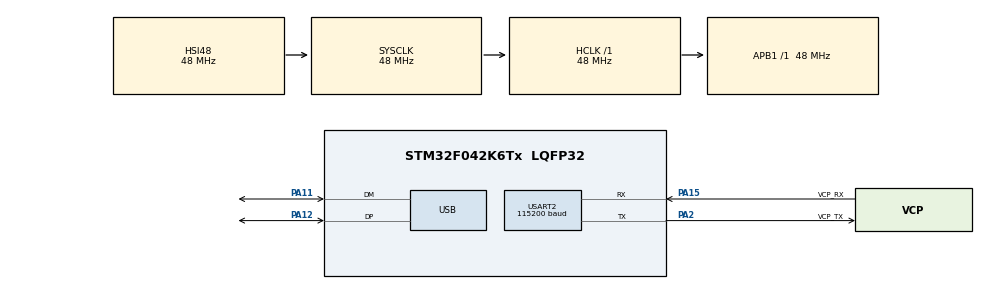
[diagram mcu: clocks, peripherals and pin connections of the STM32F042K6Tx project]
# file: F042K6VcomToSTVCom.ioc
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Mcu.Family=STM32F0
Mcu.Name=STM32F042K6Tx
Mcu.Package=LQFP32
NVIC.USART2_IRQn=true\:0\:0\:false\:false\:true
NVIC.USB_IRQn=true\:0\:0\:false\:false\:true
PA11.Mode=Device
PA11.Signal=USB_DM
PA12.Mode=Device
PA12.Signal=USB_DP
PA13.GPIO_Label=SWDIO
PA13.Signal=SYS_SWDIO
PA14.GPIO_Label=SWCLK
PA14.Signal=SYS_SWCLK
PA15.GPIO_Label=VCP_RX
PA15.Mode=Asynchronous
PA15.Signal=USART2_RX
PA2.GPIO_Label=VCP_TX
PA2.Mode=Asynchronous
PA2.Signal=USART2_TX
PF0-OSC_IN.GPIO_Label=MCO
PF0-OSC_IN.Signal=RCC_OSC_IN
ProjectManager.HeapSize=0x200
ProjectManager.StackSize=0x400
ProjectManager.TargetToolchain=SW4STM32
RCC.AHBFreq_Value=48000000
RCC.APB1Freq_Value=48000000
RCC.APB1TimFreq_Value=48000000
RCC.HCLKFreq_Value=48000000
RCC.SYSCLKFreq_VALUE=48000000
RCC.SYSCLKSource=RCC_SYSCLKSOURCE_HSI48
USART2.BaudRate=115200
USART2.WordLength=UART_WORDLENGTH_8B
USB_DEVICE.CLASS_NAME_FS=CDC
USB_DEVICE.MANUFACTURER_STRING=STMicroelectronicsA
USB_DEVICE.USBD_HandleTypeDef=hUsbDeviceFS
USB_DEVICE.VirtualMode=Cdc
USB_DEVICE.VirtualModeFS=Cdc_FS
VP_USB_DEVICE_VS_USB_DEVICE_CDC_FS.Mode=CDC_FS
board=NUCLEO-F042K6

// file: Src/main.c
/**
  ******************************************************************************
  * File Name          : main.c
  * Description        : Main program body
  ******************************************************************************
  *
  * COPYRIGHT(c) 2017 STMicroelectronics
  *
  * Redistribution and use in source and binary forms, with or without modification,
  * are permitted provided that the following conditions are met:
  *   1. Redistributions of source code must retain the above copyright notice,
  *      this list of conditions and the following disclaimer.
  *   2. Redistributions in binary form must reproduce the above copyright notice,
  *      this list of conditions and the following disclaimer in the documentation
  *      and/or other materials provided with the distribution.
  *   3. Neither the name of STMicroelectronics nor the names of its contributors
  *      may be used to endorse or promote products derived from this software
  *      without specific prior written permission.
  *
  * THIS SOFTWARE IS PROVIDED BY THE COPYRIGHT HOLDERS AND CONTRIBUTORS "AS IS"
  * AND ANY EXPRESS OR IMPLIED WARRANTIES, INCLUDING, BUT NOT LIMITED TO, THE
  * IMPLIED WARRANTIES OF MERCHANTABILITY AND FITNESS FOR A PARTICULAR PURPOSE ARE
  * DISCLAIMED. IN NO EVENT SHALL THE COPYRIGHT HOLDER OR CONTRIBUTORS BE LIABLE
  * FOR ANY DIRECT, INDIRECT, INCIDENTAL, SPECIAL, EXEMPLARY, OR CONSEQUENTIAL
  * DAMAGES (INCLUDING, BUT NOT LIMITED TO, PROCUREMENT OF SUBSTITUTE GOODS OR
  * SERVICES; LOSS OF USE, DATA, OR PROFITS; OR BUSINESS INTERRUPTION) HOWEVER
  * CAUSED AND ON ANY THEORY OF LIABILITY, WHETHER IN CONTRACT, STRICT LIABILITY,
  * OR TORT (INCLUDING NEGLIGENCE OR OTHERWISE) ARISING IN ANY WAY OUT OF THE USE
  * OF THIS SOFTWARE, EVEN IF ADVISED OF THE POSSIBILITY OF SUCH DAMAGE.
  *
  ******************************************************************************
  */
#include "stm32f0xx_hal.h"
#include "usb_device.h"

/* USER CODE BEGIN Includes */
#include "usercallbacks.h"
#include "cyclicbuffer.h"
/* USER CODE END Includes */

UART_HandleTypeDef huart2;

/* USER CODE BEGIN PV */
/* Private variables ---------------------------------------------------------*/
#define uartpDataSize 32
uint8_t uartpData[uartpDataSize];
/* USER CODE END PV */

void SystemClock_Config(void);
void Error_Handler(void);
static void MX_GPIO_Init(void);
static void MX_USART2_UART_Init(void);

/* USER CODE BEGIN PFP */
/* Private function prototypes -----------------------------------------------*/

void HAL_UART_ErrorCallback(UART_HandleTypeDef *huart);
void HAL_UART_ErrorCallback(UART_HandleTypeDef *huart);
UART_HandleTypeDef* getMainUart(void);
uint8_t* getUartRxBuffer(uint8_t i);
void sendWithMainUart(uint8_t* buffer, uint16_t length);

/* USER CODE END PFP */

/* USER CODE BEGIN 0 */
uint8_t* getUartRxBuffer(uint8_t i){
	return uartpData+i;
}

void HAL_UART_RxCpltCallback(UART_HandleTypeDef *huart){
	/*Reset Recieve*/
	HAL_UART_Receive_IT(&huart2,uartpData,uartpDataSize);
}

void HAL_UART_ErrorCallback(UART_HandleTypeDef *huart){
	/*Reset Recieve*/
	HAL_UART_Receive_IT(&huart2,uartpData,uartpDataSize);
}

UART_HandleTypeDef* getMainUart(){
	return &huart2;
}

void sendWithMainUart(uint8_t* buffer, uint16_t length){
	HAL_UART_Transmit(getMainUart(),buffer,length,2000);
}

/* USER CODE END 0 */

int main(void)
{

  /* MCU Configuration----------------------------------------------------------*/

  /* Reset of all peripherals, Initializes the Flash interface and the Systick. */
  HAL_Init();

  /* Configure the system clock */
  SystemClock_Config();

  /* Initialize all configured peripherals */
  MX_GPIO_Init();
  MX_USB_DEVICE_Init();
  MX_USART2_UART_Init();

  /* USER CODE BEGIN 2 */
  HAL_UART_Receive_IT(&huart2,uartpData,uartpDataSize);

	char tempBuffer[CYCLIC_LEN+1];
	memset(tempBuffer,0x00,CYCLIC_LEN+1);
	int l = 0;
  /* USER CODE END 2 */

  /* Infinite loop */
  /* USER CODE BEGIN WHILE */
  while (1)
  {
	  //if data was added to cyclic buffer and cdc was initialized
	  if(detectChange() && 1==usbinitialized){
		  //protects vcom from blocking
		  while(CDC_CheckIf_Busy()!=0){
			  waitMs(5);
		  }
		  //read cyclic buffer
		  readCyclic(tempBuffer,&l);
		  //transmit newest information
		  CDC_Transmit_FS(tempBuffer,l);
	  }
  /* USER CODE END WHILE */

  }

}

/** System Clock Configuration
*/
void SystemClock_Config(void)
{

  RCC_OscInitTypeDef RCC_OscInitStruct;
  RCC_ClkInitTypeDef RCC_ClkInitStruct;
  RCC_PeriphCLKInitTypeDef PeriphClkInit;

  RCC_OscInitStruct.OscillatorType = RCC_OSCILLATORTYPE_HSI48;
  RCC_OscInitStruct.HSI48State = RCC_HSI48_ON;
  RCC_OscInitStruct.PLL.PLLState = RCC_PLL_NONE;
  if (HAL_RCC_OscConfig(&RCC_OscInitStruct) != HAL_OK)
  {
    Error_Handler();
  }

  RCC_ClkInitStruct.ClockType = RCC_CLOCKTYPE_HCLK|RCC_CLOCKTYPE_SYSCLK
                              |RCC_CLOCKTYPE_PCLK1;
  RCC_ClkInitStruct.SYSCLKSource = RCC_SYSCLKSOURCE_HSI48;
  RCC_ClkInitStruct.AHBCLKDivider = RCC_SYSCLK_DIV1;
  RCC_ClkInitStruct.APB1CLKDivider = RCC_HCLK_DIV1;
  if (HAL_RCC_ClockConfig(&RCC_ClkInitStruct, FLASH_LATENCY_1) != HAL_OK)
  {
    Error_Handler();
  }

  PeriphClkInit.PeriphClockSelection = RCC_PERIPHCLK_USB;
  PeriphClkInit.UsbClockSelection = RCC_USBCLKSOURCE_HSI48;
  if (HAL_RCCEx_PeriphCLKConfig(&PeriphClkInit) != HAL_OK)
  {
    Error_Handler();
  }

  HAL_SYSTICK_Config(HAL_RCC_GetHCLKFreq()/1000);

  HAL_SYSTICK_CLKSourceConfig(SYSTICK_CLKSOURCE_HCLK);

  /* SysTick_IRQn interrupt configuration */
  HAL_NVIC_SetPriority(SysTick_IRQn, 0, 0);
}

/* USART2 init function */
static void MX_USART2_UART_Init(void)
{

  huart2.Instance = USART2;
  huart2.Init.BaudRate = 115200;
  huart2.Init.WordLength = UART_WORDLENGTH_8B;
  huart2.Init.StopBits = UART_STOPBITS_1;
  huart2.Init.Parity = UART_PARITY_NONE;
  huart2.Init.Mode = UART_MODE_TX_RX;
  huart2.Init.HwFlowCtl = UART_HWCONTROL_NONE;
  huart2.Init.OverSampling = UART_OVERSAMPLING_16;
  huart2.Init.OneBitSampling = UART_ONE_BIT_SAMPLE_DISABLE;
  huart2.AdvancedInit.AdvFeatureInit = UART_ADVFEATURE_NO_INIT;
  if (HAL_UART_Init(&huart2) != HAL_OK)
  {
    Error_Handler();
  }

}

/** Configure pins as
        * Analog
        * Input
        * Output
        * EVENT_OUT
        * EXTI
*/
static void MX_GPIO_Init(void)
{

  /* GPIO Ports Clock Enable */
  __HAL_RCC_GPIOF_CLK_ENABLE();
  __HAL_RCC_GPIOA_CLK_ENABLE();

}

void Error_Handler(void)
{
  while(1)
  {
  }
}

/************************ (C) COPYRIGHT STMicroelectronics *****END OF FILE****/
